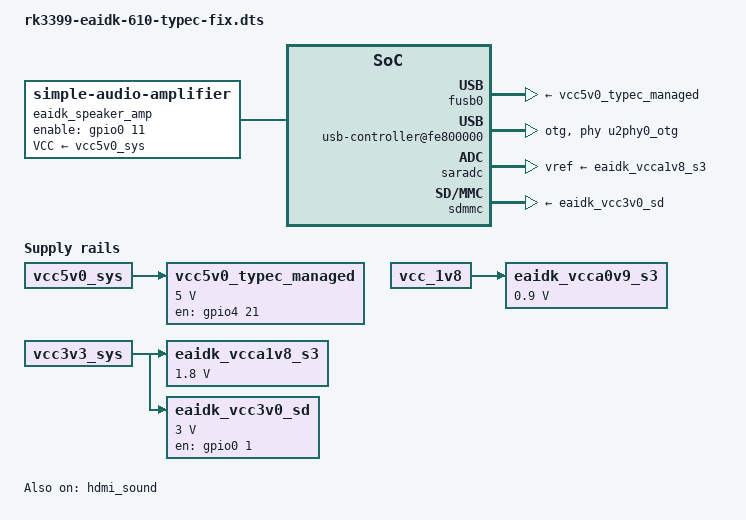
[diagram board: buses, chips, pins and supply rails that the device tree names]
/dts-v1/;
/plugin/;

/* EAIDK-610 board fixes. Type-C: fixed-5V PD, no DisplayPort. */
/ {
	fragment@0 {
		target = <&fusb0>;
		__overlay__ {
			vbus-supply = <&vcc5v0_typec_managed>;
			/* The original graph points to the now-disabled DWC3 node.
			 * fwnode connection lookup then selects this bridge reference.
			 */
			usb-role-switch = <&eaidk_typec_bridge>;
			connector {
				power-role = "dual";
				data-role = "dual";
				/* Prefer the peripheral role when connected to a PC. */
				try-power-role = "sink";
				/* Fixed PDO flags: dual role, external power, USB communication,
				 * data-role swap. No higher voltages: VBUS uses a 5V-only switch.
				 * Raw PDO cells keep this overlay directly compilable by dtc.
				 */
				source-pdos = <0x2e0190b4>; /* 5V, 1.8A; CC advertises 1.5A */
				sink-pdos = <0x2e01900a>; /* 5V, 100mA interface budget */
				op-sink-microwatt = <500000>;
				/* System power comes from the separate 12V input, not VBUS. */
				self-powered;
				/* Notify the extcon bridge about the connector orientation. */
				orientation-switch = <&eaidk_typec_bridge>;
			};
		};
	};
	fragment@1 {
		target = <&vcc5v0_typec>;
		__overlay__ { status = "disabled"; };
	};
	fragment@2 {
		target-path = "/";
		__overlay__ {
			vcc5v0_typec_managed: regulator-vcc5v0-typec-managed {
				compatible = "regulator-fixed";
				regulator-name = "vcc5v0_typec_managed";
				regulator-min-microvolt = <5000000>;
				regulator-max-microvolt = <5000000>;
				gpio = <&gpio4 21 0>;
				enable-active-high;
				pinctrl-names = "default";
				pinctrl-0 = <&vcc5v0_typec_en>;
				vin-supply = <&vcc5v0_sys>;
				status = "okay";
			};
			eaidk_typec_bridge: typec-extcon {
				compatible = "linux,typec-extcon-bridge";
				usb-role-switch;
				orientation-switch;
			};
		};
	};
	fragment@3 {
		target = <&u2phy0>;
		__overlay__ {
			extcon = <&eaidk_typec_bridge>;
			extcon,ignore-usb;
		};
	};
	/* An overlay cannot remove the old usb-role-switch boolean. Keep
	 * that node disabled and describe the same controller without it,
	 * so DWC3 and USB2 PHY both consume the bridge's EXTCON_USB_HOST.
	 */
	fragment@4 {
		target = <&usbdrd_dwc3_0>;
		__overlay__ { status = "disabled"; };
	};
	fragment@5 {
		target = <&usbdrd3_0>;
		__overlay__ {
			#address-cells = <2>;
			#size-cells = <2>;
			usb-controller@fe800000 {
				compatible = "snps,dwc3";
				reg = <0 0xfe800000 0 0x100000>;
				interrupts = <0 105 4 0>;
				clocks = <&cru 129>, <&cru 246>, <&cru 131>;
				clock-names = "ref", "bus_early", "suspend";
				dr_mode = "otg";
				phys = <&u2phy0_otg>, <&tcphy0_usb3>;
				phy-names = "usb2-phy", "usb3-phy";
				phy_type = "utmi_wide";
				snps,dis_enblslpm_quirk;
				snps,dis-u2-freeclk-exists-quirk;
				snps,dis_u2_susphy_quirk;
				snps,dis-del-phy-power-chg-quirk;
				snps,dis-tx-ipgap-linecheck-quirk;
				snps,xhci-trb-ent-quirk;
				snps,usb3-phy-reset-quirk;
				power-domains = <&power 24>;
				extcon = <&eaidk_typec_bridge>;
				status = "okay";
			};
		};
	};
	/* The RK3399 Type-C PHY driver gets both its USB role and SuperSpeed
	 * lane orientation from extcon.  The orientation-switch boolean in the
	 * upstream tcphy0_usb3 node is not consumed by this driver.
	 */
	fragment@6 {
		target = <&tcphy0>;
		__overlay__ {
			extcon = <&eaidk_typec_bridge>;
		};
	};
	/* GPIO0_B3 drives the PT5305 speaker amplifier enable input. */
	fragment@7 {
		target-path = "/";
		__overlay__ {
			eaidk_speaker_amp: audio-amplifier {
				compatible = "simple-audio-amplifier";
				enable-gpios = <&gpio0 11 0>;
				pinctrl-names = "default";
				pinctrl-0 = <&eaidk_speaker_amp_enable>;
				sound-name-prefix = "Speaker Amp";
				VCC-supply = <&vcc5v0_sys>;
			};
		};
	};
	/* The upstream codec node carries legacy GPIO properties which the
	 * mainline RT5651 driver does not consume.  Describe both functions on
	 * their supported consumers instead: headphone detect on simple-card,
	 * and speaker enable on a simple audio amplifier.  HP_DET_H is active
	 * high according to the EAIDK-610 schematic.
	 */
	fragment@8 {
		target-path = "/rt5651-sound";
		__overlay__ {
			pinctrl-names = "default";
			pinctrl-0 = <&rt5651_hpcon>;
			simple-audio-card,aux-devs = <&eaidk_speaker_amp>;
			simple-audio-card,hp-det-gpios = <&gpio4 28 0>;
			simple-audio-card,widgets =
				"Microphone", "Mic Jack",
				"Microphone", "Internal Mic",
				"Headphone", "Headphones",
				"Speaker", "Internal Speaker";
			simple-audio-card,routing =
				"Mic Jack", "micbias1",
				/* MIC_IN1P is wired to codec IN3P, not IN1P. */
				"IN3P", "Mic Jack",
				"Internal Mic", "micbias1",
				"IN2P", "Internal Mic",
				"IN2N", "Internal Mic",
				"Headphones", "HPOL",
				"Headphones", "HPOR",
				"Internal Speaker", "Speaker Amp OUTL",
				"Internal Speaker", "Speaker Amp OUTR",
				"Speaker Amp INL", "HPOL",
				"Speaker Amp INR", "HPOR";
		};
	};
	fragment@9 {
		target = <&pinctrl>;
		__overlay__ {
			eaidk-audio {
				eaidk_speaker_amp_enable: speaker-amp-enable {
					rockchip,pins = <0 11 0 &pcfg_pull_down>;
				};
			};
			eaidk-sdmmc {
				eaidk_sdmmc_power: sdmmc-power {
					rockchip,pins = <0 1 0 &pcfg_pull_none>;
				};
			};
		};
	};
	/* Allow bare earlycon to locate the board's serial console. */
	fragment@10 {
		target-path = "/";
		__overlay__ {
			chosen {
				stdout-path = "/serial@ff1a0000:1500000n8";
			};
		};
	};
	/* MIC5088 is connected across IN2P/IN2N (schematic sheet 50). */
	fragment@11 {
		target = <&rt5651>;
		__overlay__ {
			realtek,in2-differential;
		};
	};
	fragment@12 {
		target-path = "/";
		__overlay__ {
			/* U2206 and U4002 are separate analog LDOs (sheet 21).
			 * Their enables follow VCC1V8_S3, not a software GPIO.
			 * Keep the existing always-on policy for these shared rails.
			 */
			eaidk_vcca0v9_s3: regulator-vcca0v9-s3 {
				compatible = "regulator-fixed";
				regulator-name = "vcca0v9_s3";
				regulator-min-microvolt = <900000>;
				regulator-max-microvolt = <900000>;
				regulator-always-on;
				regulator-boot-on;
				vin-supply = <&vcc_1v8>;
			};
			eaidk_vcca1v8_s3: regulator-vcca1v8-s3 {
				compatible = "regulator-fixed";
				regulator-name = "vcca1v8_s3";
				regulator-min-microvolt = <1800000>;
				regulator-max-microvolt = <1800000>;
				regulator-always-on;
				regulator-boot-on;
				vin-supply = <&vcc3v3_sys>;
			};
			/* U1377 RT9013-30GB; SDMMC0_PWR_H is GPIO0_A1. */
			eaidk_vcc3v0_sd: regulator-vcc3v0-sd {
				compatible = "regulator-fixed";
				regulator-name = "vcc3v0_sd";
				regulator-min-microvolt = <3000000>;
				regulator-max-microvolt = <3000000>;
				regulator-boot-on;
				gpio = <&gpio0 1 0>;
				enable-active-high;
				pinctrl-names = "default";
				pinctrl-0 = <&eaidk_sdmmc_power>;
				vin-supply = <&vcc3v3_sys>;
			};
		};
	};
	fragment@13 {
		target = <&hdmi>;
		__overlay__ {
			avdd-0v9-supply = <&eaidk_vcca0v9_s3>;
			avdd-1v8-supply = <&eaidk_vcca1v8_s3>;
		};
	};
	/* The base vcca1v8_s3 label aliases the digital VCC1V8_S3 rail. */
	fragment@14 {
		target = <&saradc>;
		__overlay__ {
			vref-supply = <&eaidk_vcca1v8_s3>;
		};
	};
	fragment@15 {
		target = <&sdmmc>;
		__overlay__ {
			vmmc-supply = <&eaidk_vcc3v0_sd>;
			vqmmc-supply = <&vcc_sdio>;
			max-frequency = <200000000>;
			sd-uhs-sdr50;
			sd-uhs-sdr104;
		};
	};
	/* Armbian already describes the I2S2 -> HDMI audio link. */
	fragment@16 {
		target = <&hdmi_sound>;
		__overlay__ { status = "okay"; };
	};
	/* Keep the working eMMC power configuration and 200 MHz clock. */
	fragment@17 {
		target = <&sdhci>;
		__overlay__ {
			mmc-hs400-1_8v;
		};
	};
	/* EMMC_STRB has no external pull-down on the board. */
	fragment@18 {
		target = <&emmc_phy>;
		__overlay__ {
			rockchip,enable-strobe-pulldown;
		};
	};
};
